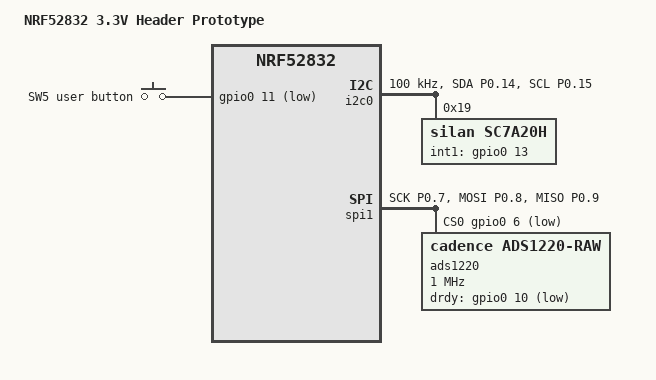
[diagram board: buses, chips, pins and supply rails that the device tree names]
/dts-v1/;
#include <nordic/nrf52832_qfaa.dtsi>
#include <zephyr/dt-bindings/gpio/gpio.h>
#include <zephyr/dt-bindings/pinctrl/nrf-pinctrl.h>
/ {
    model = "NRF52832 3.3V Header Prototype";
    compatible = "cadence,nrf52832-proto";
    chosen {
        zephyr,sram = &sram0;
        zephyr,flash = &flash0;
    };
    aliases { sw0 = &user_button; };
    buttons {
        compatible = "gpio-keys";
        user_button: user-button {
            label = "SW5 user button";
            gpios = <&gpio0 11 (GPIO_ACTIVE_LOW | GPIO_PULL_UP)>;
        };
    };
};
&gpio0 { status = "okay"; };
&gpiote { status = "okay"; };
&uicr {
    gpio-as-nreset;
    nfct-pins-as-gpios;
};
&reg { regulator-initial-mode = <NRF5X_REG_MODE_DCDC>; };
/* I2C0 and SPI1 use different peripheral instances. */
&i2c0 {
    compatible = "nordic,nrf-twim";
    status = "okay";
    clock-frequency = <100000>;
    pinctrl-0 = <&acc_default>;
    pinctrl-1 = <&acc_sleep>;
    pinctrl-names = "default", "sleep";
    sc7a20h: accelerometer@19 {
        compatible = "silan,sc7a20h";
        reg = <0x19>;
        int1-gpios = <&gpio0 13 GPIO_ACTIVE_HIGH>;
    };
};
&spi1 {
    compatible = "nordic,nrf-spim";
    status = "okay";
    pinctrl-0 = <&ads_default>;
    pinctrl-1 = <&ads_sleep>;
    pinctrl-names = "default", "sleep";
    cs-gpios = <&gpio0 6 GPIO_ACTIVE_LOW>;
    ads1220: adc@0 {
        compatible = "cadence,ads1220-raw";
        reg = <0>;
        spi-max-frequency = <1000000>;
        spi-cpha;
        drdy-gpios = <&gpio0 10 GPIO_ACTIVE_LOW>;
    };
};
&pinctrl {
    acc_default: acc-default {
        group1 { psels = <NRF_PSEL(TWIM_SDA, 0, 14)>, <NRF_PSEL(TWIM_SCL, 0, 15)>; };
    };
    acc_sleep: acc-sleep {
        group1 {
            psels = <NRF_PSEL(TWIM_SDA, 0, 14)>, <NRF_PSEL(TWIM_SCL, 0, 15)>;
            low-power-enable;
        };
    };
};

&pinctrl {
    ads_default: ads-default {
        group1 { psels = <NRF_PSEL(SPIM_SCK, 0, 7)>, <NRF_PSEL(SPIM_MOSI, 0, 8)>, <NRF_PSEL(SPIM_MISO, 0, 9)>; };
    };
    ads_sleep: ads-sleep {
        group1 {
            psels = <NRF_PSEL(SPIM_SCK, 0, 7)>, <NRF_PSEL(SPIM_MOSI, 0, 8)>, <NRF_PSEL(SPIM_MISO, 0, 9)>;
            low-power-enable;
        };
    };
};
